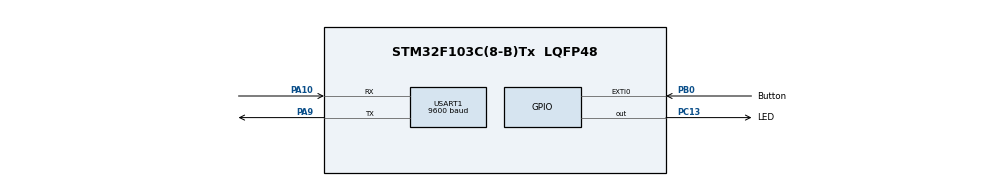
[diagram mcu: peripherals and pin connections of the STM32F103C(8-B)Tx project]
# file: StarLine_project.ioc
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ADC1.Channel-3\#ChannelRegularConversion=ADC_CHANNEL_TEMPSENSOR
ADC1.NbrOfConversionFlag=1
ADC1.Rank-3\#ChannelRegularConversion=1
ADC1.SamplingTime-3\#ChannelRegularConversion=ADC_SAMPLETIME_1CYCLE_5
ADC1.master=1
Mcu.Family=STM32F1
Mcu.Name=STM32F103C(8-B)Tx
Mcu.Package=LQFP48
NVIC.EXTI0_IRQn=true\:0\:0\:false\:false\:true\:true\:true\:true
NVIC.PriorityGroup=NVIC_PRIORITYGROUP_4
NVIC.TIM2_IRQn=true\:0\:0\:false\:false\:true\:true\:true\:true
NVIC.USART1_IRQn=true\:0\:0\:false\:false\:true\:true\:true\:true
PA10.Mode=Asynchronous
PA10.Signal=USART1_RX
PA13.Mode=Serial_Wire
PA13.Signal=SYS_JTMS-SWDIO
PA14.Mode=Serial_Wire
PA14.Signal=SYS_JTCK-SWCLK
PA9.Mode=Asynchronous
PA9.Signal=USART1_TX
PB0.GPIO_Label=Button
PB0.GPIO_ModeDefaultEXTI=GPIO_MODE_IT_RISING
PB0.GPIO_PuPd=GPIO_PULLDOWN
PB0.Signal=GPXTI0
PC13-TAMPER-RTC.GPIO_Label=LED
PC13-TAMPER-RTC.PinState=GPIO_PIN_SET
PC13-TAMPER-RTC.Signal=GPIO_Output
PD0-OSC_IN.Mode=HSE-External-Oscillator
PD0-OSC_IN.Signal=RCC_OSC_IN
PD1-OSC_OUT.Mode=HSE-External-Oscillator
PD1-OSC_OUT.Signal=RCC_OSC_OUT
ProjectManager.HeapSize=0x200
ProjectManager.StackSize=0x400
ProjectManager.TargetToolchain=EWARM V8.32
RCC.APB1Freq_Value=8000000
RCC.APB1TimFreq_Value=8000000
RCC.APB2Freq_Value=8000000
RCC.PLLSourceVirtual=RCC_PLLSOURCE_HSE
RCC.SYSCLKSource=RCC_SYSCLKSOURCE_HSE
RCC.USBFreq_Value=16000000
TIM2.ClockDivision=TIM_CLOCKDIVISION_DIV1
TIM2.Period=10
TIM2.Prescaler=799
USART1.BaudRate=9600
USART1.Mode=MODE_TX
USART1.VirtualMode=VM_ASYNC
VP_ADC1_TempSens_Input.Mode=IN-TempSens
VP_CRC_VS_CRC.Mode=CRC_Activate
VP_TIM2_VS_ClockSourceINT.Mode=Internal
board=custom

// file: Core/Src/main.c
/* USER CODE BEGIN Header */
/**
  ******************************************************************************
  * @file           : main.c
  * @brief          : Main program body
  ******************************************************************************
  * @attention
  *
  * Copyright (c) 2022 STMicroelectronics.
  * All rights reserved.
  *
  * This software is licensed under terms that can be found in the LICENSE file
  * in the root directory of this software component.
  * If no LICENSE file comes with this software, it is provided AS-IS.
  *
  ******************************************************************************
  */
/* USER CODE END Header */
#include "main.h"

/* USER CODE BEGIN Includes */
#include "my_funcs.h"
#include "RingBuffer.h"
/* USER CODE END Includes */

ADC_HandleTypeDef hadc1;

CRC_HandleTypeDef hcrc;

TIM_HandleTypeDef htim2;

UART_HandleTypeDef huart1;

/* USER CODE BEGIN PV */
RingBuff_t* RingBuffer;  // объявление структуры кольцевого буфера
RandBuff_t* random_buffer;      // объявление структуры случайных значений
uint8_t* returned_val;  // возвращаемое из функции значение
volatile uint8_t FlagEnded_Tx = 1;  // флаг отправки сообщения по UART
/* USER CODE END PV */

void SystemClock_Config(void);
static void MX_GPIO_Init(void);
static void MX_TIM2_Init(void);
static void MX_USART1_UART_Init(void);
static void MX_ADC1_Init(void);
static void MX_CRC_Init(void);

int main(void)
{

  /* MCU Configuration--------------------------------------------------------*/

  /* Reset of all peripherals, Initializes the Flash interface and the Systick. */
  HAL_Init();

  /* Configure the system clock */
  SystemClock_Config();

  /* Initialize all configured peripherals */
  MX_GPIO_Init();
  MX_TIM2_Init();
  MX_USART1_UART_Init();
  MX_ADC1_Init();
  MX_CRC_Init();
  /* USER CODE BEGIN 2 */
  HAL_SuspendTick();     // SysTick interrupt off
  HAL_PWR_EnterSLEEPMode(PWR_LOWPOWERREGULATOR_ON, PWR_SLEEPENTRY_WFI); // to sleep

  init_buff(random_buffer, hadc1, hcrc);  // инициализация случайного времени и случайного размера
  fill_buff(random_buffer, hadc1, hcrc);  // генерация случайных данных

  if((RingBuffer = InitRB(255)) == NULL){  // инициализация кольцевого буфера
    Error_Handler();
  }
  if(FillRB(RingBuffer, random_buffer->rand_buff, random_buffer->rand_size) != RB_OK){  // заполнение кольцевого буфера
    Error_Handler();
  }
  Tim_Period_Update();  // обновление периода таймера в соответствии с rand_time
  __HAL_TIM_CLEAR_FLAG(&htim2, TIM_SR_UIF); // очищаем флаг прерывания
  HAL_TIM_Base_Start_IT(&htim2);  // запуск таймера с прерыванием
  /* USER CODE END 2 */

  /* Infinite loop */
  /* USER CODE BEGIN WHILE */
  while (1)
  {
    int8_t RB_Err_Status;
    RB_Err_Status = GetRBValue(RingBuffer, returned_val);
    if(RB_Err_Status){   // если в кольцевом буфере есть байты
      int8_t RBValue = *returned_val;           // взять и сохранить байт
      if((RBValue < 10) && (RBValue > -10)){    // если он по модулю меньше 10
        if(RBValue < 0){  // если он отрицательный
          RBValue = -RBValue;  // сделать положительным
        }
        while(FlagEnded_Tx == 0){}  // пока предыдущая отправка не закончится - крутиться в бесконечном цикле
        FlagEnded_Tx = 0;  // обнуление флага отправки по ЮАРТ
        uint8_t tmpNums = Counter6Nums(RBValue);  // подсчет шестерок
        HAL_UART_Transmit_IT(&huart1, &tmpNums, 1);  // передача 2го байта от кол-ва 6ок
      }
      else{  // если байт по модулю больше 10
        uint8_t RBValue2 = (uint8_t)RBValue;  // преобразовать в тип передачи по ЮАРТ
        while(FlagEnded_Tx == 0){}
        FlagEnded_Tx = 0;
        HAL_UART_Transmit_IT(&huart1, &RBValue2, 1);  // передать байт
      }
    }
    else if(RB_Err_Status == RB_ERR_NULL){  // если ошибка в аргументе
      Error_Handler();
    }
    /* USER CODE END WHILE */

  }
}

void SystemClock_Config(void)
{
  RCC_OscInitTypeDef RCC_OscInitStruct = {0};
  RCC_ClkInitTypeDef RCC_ClkInitStruct = {0};
  RCC_PeriphCLKInitTypeDef PeriphClkInit = {0};

  /** Initializes the RCC Oscillators according to the specified parameters
  * in the RCC_OscInitTypeDef structure.
  */
  RCC_OscInitStruct.OscillatorType = RCC_OSCILLATORTYPE_HSE;
  RCC_OscInitStruct.HSEState = RCC_HSE_ON;
  RCC_OscInitStruct.PLL.PLLState = RCC_PLL_NONE;
  if (HAL_RCC_OscConfig(&RCC_OscInitStruct) != HAL_OK)
  {
    Error_Handler();
  }

  /** Initializes the CPU, AHB and APB buses clocks
  */
  RCC_ClkInitStruct.ClockType = RCC_CLOCKTYPE_HCLK|RCC_CLOCKTYPE_SYSCLK
                              |RCC_CLOCKTYPE_PCLK1|RCC_CLOCKTYPE_PCLK2;
  RCC_ClkInitStruct.SYSCLKSource = RCC_SYSCLKSOURCE_HSE;
  RCC_ClkInitStruct.AHBCLKDivider = RCC_SYSCLK_DIV1;
  RCC_ClkInitStruct.APB1CLKDivider = RCC_HCLK_DIV1;
  RCC_ClkInitStruct.APB2CLKDivider = RCC_HCLK_DIV1;

  if (HAL_RCC_ClockConfig(&RCC_ClkInitStruct, FLASH_LATENCY_0) != HAL_OK)
  {
    Error_Handler();
  }
  PeriphClkInit.PeriphClockSelection = RCC_PERIPHCLK_ADC;
  PeriphClkInit.AdcClockSelection = RCC_ADCPCLK2_DIV2;
  if (HAL_RCCEx_PeriphCLKConfig(&PeriphClkInit) != HAL_OK)
  {
    Error_Handler();
  }
}

static void MX_ADC1_Init(void)
{

  ADC_ChannelConfTypeDef sConfig = {0};

  /** Common config
  */
  hadc1.Instance = ADC1;
  hadc1.Init.ScanConvMode = ADC_SCAN_DISABLE;
  hadc1.Init.ContinuousConvMode = DISABLE;
  hadc1.Init.DiscontinuousConvMode = DISABLE;
  hadc1.Init.ExternalTrigConv = ADC_SOFTWARE_START;
  hadc1.Init.DataAlign = ADC_DATAALIGN_RIGHT;
  hadc1.Init.NbrOfConversion = 1;
  if (HAL_ADC_Init(&hadc1) != HAL_OK)
  {
    Error_Handler();
  }

  /** Configure Regular Channel
  */
  sConfig.Channel = ADC_CHANNEL_TEMPSENSOR;
  sConfig.Rank = ADC_REGULAR_RANK_1;
  sConfig.SamplingTime = ADC_SAMPLETIME_1CYCLE_5;
  if (HAL_ADC_ConfigChannel(&hadc1, &sConfig) != HAL_OK)
  {
    Error_Handler();
  }

}

static void MX_CRC_Init(void)
{

  hcrc.Instance = CRC;
  if (HAL_CRC_Init(&hcrc) != HAL_OK)
  {
    Error_Handler();
  }

}

static void MX_TIM2_Init(void)
{

  TIM_ClockConfigTypeDef sClockSourceConfig = {0};
  TIM_MasterConfigTypeDef sMasterConfig = {0};

  htim2.Instance = TIM2;
  htim2.Init.Prescaler = 799;
  htim2.Init.CounterMode = TIM_COUNTERMODE_UP;
  htim2.Init.Period = 10;
  htim2.Init.ClockDivision = TIM_CLOCKDIVISION_DIV1;
  htim2.Init.AutoReloadPreload = TIM_AUTORELOAD_PRELOAD_DISABLE;
  if (HAL_TIM_Base_Init(&htim2) != HAL_OK)
  {
    Error_Handler();
  }
  sClockSourceConfig.ClockSource = TIM_CLOCKSOURCE_INTERNAL;
  if (HAL_TIM_ConfigClockSource(&htim2, &sClockSourceConfig) != HAL_OK)
  {
    Error_Handler();
  }
  sMasterConfig.MasterOutputTrigger = TIM_TRGO_RESET;
  sMasterConfig.MasterSlaveMode = TIM_MASTERSLAVEMODE_DISABLE;
  if (HAL_TIMEx_MasterConfigSynchronization(&htim2, &sMasterConfig) != HAL_OK)
  {
    Error_Handler();
  }

}

static void MX_USART1_UART_Init(void)
{

  huart1.Instance = USART1;
  huart1.Init.BaudRate = 9600;
  huart1.Init.WordLength = UART_WORDLENGTH_8B;
  huart1.Init.StopBits = UART_STOPBITS_1;
  huart1.Init.Parity = UART_PARITY_NONE;
  huart1.Init.Mode = UART_MODE_TX;
  huart1.Init.HwFlowCtl = UART_HWCONTROL_NONE;
  huart1.Init.OverSampling = UART_OVERSAMPLING_16;
  if (HAL_UART_Init(&huart1) != HAL_OK)
  {
    Error_Handler();
  }

}

static void MX_GPIO_Init(void)
{
  GPIO_InitTypeDef GPIO_InitStruct = {0};

  /* GPIO Ports Clock Enable */
  __HAL_RCC_GPIOC_CLK_ENABLE();
  __HAL_RCC_GPIOD_CLK_ENABLE();
  __HAL_RCC_GPIOB_CLK_ENABLE();
  __HAL_RCC_GPIOA_CLK_ENABLE();

  /*Configure GPIO pin Output Level */
  HAL_GPIO_WritePin(LED_GPIO_Port, LED_Pin, GPIO_PIN_SET);

  /*Configure GPIO pin : LED_Pin */
  GPIO_InitStruct.Pin = LED_Pin;
  GPIO_InitStruct.Mode = GPIO_MODE_OUTPUT_PP;
  GPIO_InitStruct.Pull = GPIO_NOPULL;
  GPIO_InitStruct.Speed = GPIO_SPEED_FREQ_LOW;
  HAL_GPIO_Init(LED_GPIO_Port, &GPIO_InitStruct);

  /*Configure GPIO pin : Button_Pin */
  GPIO_InitStruct.Pin = Button_Pin;
  GPIO_InitStruct.Mode = GPIO_MODE_IT_RISING;
  GPIO_InitStruct.Pull = GPIO_PULLDOWN;
  HAL_GPIO_Init(Button_GPIO_Port, &GPIO_InitStruct);

  /* EXTI interrupt init*/
  HAL_NVIC_SetPriority(EXTI0_IRQn, 0, 0);
  HAL_NVIC_EnableIRQ(EXTI0_IRQn);

}

/* USER CODE BEGIN 4 */
/**
  * @brief  Обновление периода таймера
  * @retval None
  */
void Tim_Period_Update(void){
  // новое значение периода основано на умножении 1мс на случайный коэффициент периода
  htim2.Init.Period = random_buffer->rand_time * TIM_PERIOD_1_MS - 1;
  if (HAL_TIM_Base_Init(&htim2) != HAL_OK)
  {
    Error_Handler();
  }
}
/* USER CODE END 4 */

void Error_Handler(void)
{
  /* USER CODE BEGIN Error_Handler_Debug */
  deleteRingBuffer(RingBuffer);   // удалить динамическую память
  /* User can add his own implementation to report the HAL error return state */
  __disable_irq();
  while (1)
  {
  }
  /* USER CODE END Error_Handler_Debug */
}
